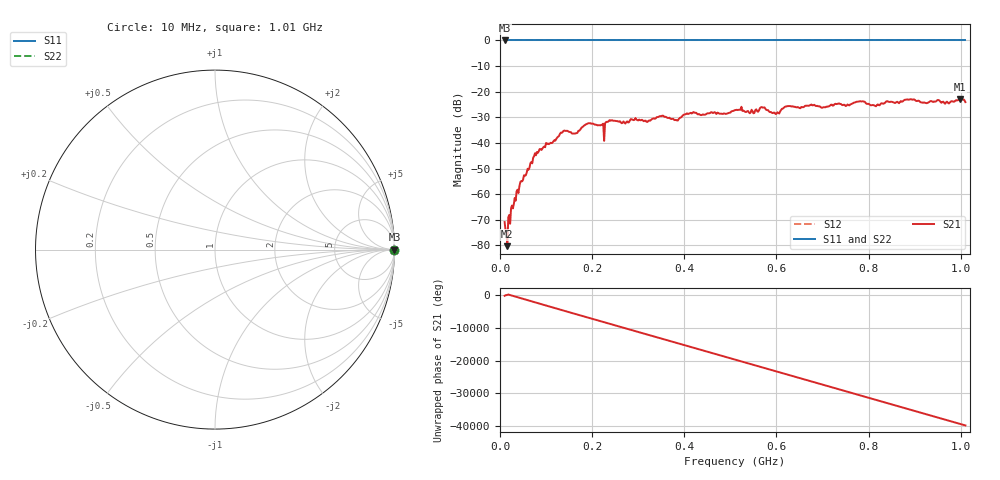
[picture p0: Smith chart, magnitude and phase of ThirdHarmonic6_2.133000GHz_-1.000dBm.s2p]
! 8/17/2025 1:29:24 AM
! C:\ANRITSUVNA\TEMP\TEMP.S2P
! CHANNEL.1
! TR.MEASUREMENT
! RAW.DATA
! RF.CORRECTION.OFF
! AVERAGING.OFF
! IF.BANDWIDTH: 5KHZ
! SWEEPTYPE:  FREQ.SWEEP(Linear)
! Reference Plane Port Info
! PORT:  PORT1  PORT2
! DISTANCE:  0  m  0  m
! TIME:  0  s  0  s
! PHASE.OFFSET:  0  deg.  0  deg.
! LOSS:  0  dB  0  dB
! REF.LOSS:  0  dB  0  dB
! REF.FREQ:  0  Hz  0  Hz
! Power Info
! POWER:  -20  dBm  -20  dBm
! EFF.POWER:  -20  dBm  -20  dBm
! SOURCE.ATTEN:  0  dB  0  dB
! TEST.ATTEN:  0  dB  0  dB
# GHZ S RI R 50.0
! FREQ.GHZ  S11RE  S11IM  S21RE  S21IM  S12RE  S12IM  S22RE  S22IM
!; PortSelection: Port_12
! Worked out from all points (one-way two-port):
!   501 points, 10 MHz to 1.01 GHz, reference 50 ohm
!   highest |S21| = -22.88 dB at 998 MHz (marker M1); lowest = -80.3 dB at 16 MHz (marker M2)
!   lowest |S11| = 0.0 dB at 10 MHz (marker M3)
!   |S11| at or under -10 dB: nowhere
!   |S22| runs from 0.0 to 0.0 dB; largest |S21 - S12| = 1.1
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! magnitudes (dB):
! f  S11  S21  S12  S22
! 10 MHz  0.0  -70.9  0.0  0.0
! 12 MHz  0.0  -73.9  0.0  0.0
! 16 MHz  0.0  -80.3  0.0  0.0
! 18 MHz  0.0  -69.0  0.0  0.0
! 22 MHz  0.0  -71.5  0.0  0.0
! 40 MHz  0.0  -59.5  0.0  0.0
! 76 MHz  0.0  -44.0  0.0  0.0
! 136 MHz  0.0  -35.7  0.0  0.0
! 164 MHz  0.0  -36.3  0.0  0.0
! 178 MHz  0.0  -33.9  0.0  0.0
! 344 MHz  0.0  -29.8  0.0  0.0
! 382 MHz  0.0  -31.0  0.0  0.0
! 416 MHz  0.0  -28.5  0.0  0.0
! 510 MHz  0.0  -27.2  0.0  0.0
! 548 MHz  0.0  -27.6  0.0  0.0
! 570 MHz  0.0  -26.2  0.0  0.0
! 602 MHz  0.0  -28.0  0.0  0.0
! 622 MHz  0.0  -25.7  0.0  0.0
! 678 MHz  0.0  -25.3  0.0  0.0
! 844 MHz  0.0  -24.0  0.0  0.0
! 998 MHz  0.0  -22.9  0.0  0.0
! 1.01 GHz  0.0  -24.0  0.0  0.0
